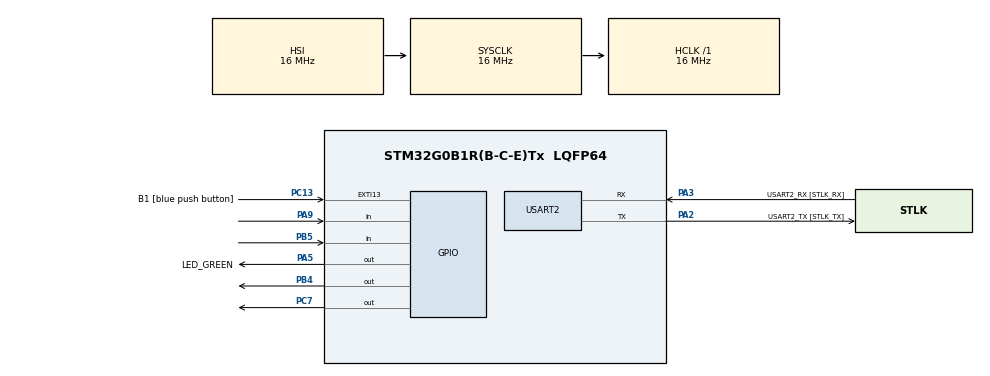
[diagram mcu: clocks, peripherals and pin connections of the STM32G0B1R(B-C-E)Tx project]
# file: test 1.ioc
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Mcu.Family=STM32G0
Mcu.Name=STM32G0B1R(B-C-E)Tx
Mcu.Package=LQFP64
PA13.GPIO_Label=TMS
PA13.Mode=Serial_Wire
PA13.Signal=SYS_SWDIO
PA14-BOOT0.GPIO_Label=TCK
PA14-BOOT0.Mode=Serial_Wire
PA14-BOOT0.Signal=SYS_SWCLK
PA2.GPIO_Label=USART2_TX [STLK_TX]
PA2.Mode=Asynchronous
PA2.Signal=USART2_TX
PA3.GPIO_Label=USART2_RX [STLK_RX]
PA3.Mode=Asynchronous
PA3.Signal=USART2_RX
PA5.GPIO_Label=LED_GREEN
PA5.GPIO_Speed=GPIO_SPEED_FREQ_HIGH
PA5.Signal=GPIO_Output
PA9.Signal=GPIO_Input
PB4.Signal=GPIO_Output
PB5.GPIO_PuPd=GPIO_PULLUP
PB5.Signal=GPIO_Input
PC13.GPIO_Label=B1 [blue push button]
PC13.Signal=GPXTI13
PC14-OSC32_IN\ (PC14).Mode=LSE-External-Oscillator
PC14-OSC32_IN\ (PC14).Signal=RCC_OSC32_IN
PC15-OSC32_OUT\ (PC15).Mode=LSE-External-Oscillator
PC15-OSC32_OUT\ (PC15).Signal=RCC_OSC32_OUT
PC7.Signal=GPIO_Output
PF0-OSC_IN\ (PF0).GPIO_Label=MCO
PF0-OSC_IN\ (PF0).Mode=HSE-External-Clock-Source
PF0-OSC_IN\ (PF0).Signal=RCC_OSC_IN
ProjectManager.HeapSize=0x200
ProjectManager.StackSize=0x400
ProjectManager.TargetToolchain=STM32CubeIDE
RCC.AHBFreq_Value=16000000
RCC.CortexFreq_Value=16000000
RCC.EXTERNAL_CLOCK_VALUE=12288000
RCC.HCLKFreq_Value=16000000
RCC.HSE_VALUE=8000000
RCC.HSI48_VALUE=48000000
RCC.HSI_VALUE=16000000
RCC.SYSCLKFreq_VALUE=16000000
RCC.USBFreq_Value=48000000
RCC.VCOOutputFreq_Value=128000000
USART2.VirtualMode-Asynchronous=VM_ASYNC
board=NUCLEO-G0B1RE

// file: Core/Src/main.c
/* USER CODE BEGIN Header */
/**
  ******************************************************************************
  * @file           : main.c
  * @brief          : Main program body
  ******************************************************************************
  * @attention
  *
  * Copyright (c) 2026 STMicroelectronics.
  * All rights reserved.
  *
  * This software is licensed under terms that can be found in the LICENSE file
  * in the root directory of this software component.
  * If no LICENSE file comes with this software, it is provided AS-IS.
  *
  ******************************************************************************
  */
/* USER CODE END Header */
#include "main.h"

/* USER CODE BEGIN Includes */
#include <stdio.h>
#include <stdint.h>
#include <stdbool.h>
#include <string.h>
/* USER CODE END Includes */

/* USER CODE BEGIN PTD */
typedef enum
{
  PAD_STATE_IDLE    = 0,
  PAD_STATE_RUNNING = 1,
  PAD_STATE_FAULT   = 2
} Pad_State_e;
/* USER CODE END PTD */

/* USER CODE BEGIN PD */
/* Raw counts per 1 mmHg, fitted to a gauge (about +/-3 mmHg gauge accuracy).
 * Valid for this sensor module only; each new sensor needs its own value. */
#define PAD_COUNTS_PER_MMHG            (75000)

/* Calibration mode: once the pump has stopped at the current target, each
 * button press raises the target by one step and continues from there. */
#define PAD_CAL_STEP_COUNTS            (1000000)   /* first target and each step   */
#define PAD_CAL_MAX_TARGET_COUNTS      (5000000)   /* highest target allowed       */
#define PAD_CAL_LIMIT_MARGIN_COUNTS    (500000)    /* fault above target + this    */

/* Hard cap in raw counts, independent of every other setting. */
#define PAD_ABSOLUTE_MAX_DELTA_COUNTS  (6000000)

#define PAD_PUMP_ON_TIMEOUT_MS         (60000U)
#define PAD_BASELINE_SAMPLES           (8U)
#define PAD_BUTTON_DEBOUNCE_MS         (30U)
/* USER CODE END PD */

UART_HandleTypeDef huart2;

void SystemClock_Config(void);
static void MX_GPIO_Init(void);
static void MX_USART2_UART_Init(void);

/* USER CODE BEGIN 0 */

/* Short delay for the HX710B clock pulses (about 1-2 us at 16 MHz). */
static void SensorDelay(void)
{
  volatile uint32_t count = 20U;

  while (count > 0U)
  {
    count--;
  }
}

/* Read one 24-bit raw sample from the HX710B.
 * DOUT = PA9, SCK = PC7. Returns false if no sample arrives in 500 ms. */
static bool HX710B_ReadRaw(int32_t *value)
{
  uint32_t start_ms = HAL_GetTick();
  uint32_t raw      = 0U;
  uint8_t  i;

  /* DOUT goes LOW when a new sample is ready. */
  while (HAL_GPIO_ReadPin(GPIOA, GPIO_PIN_9) == GPIO_PIN_SET)
  {
    if ((HAL_GetTick() - start_ms) > 500U)
    {
      return false;
    }
  }

  /* 24 data bits + 1 extra pulse (selects the 10 Hz input for the next read). */
  for (i = 0U; i < 25U; i++)
  {
    HAL_GPIO_WritePin(GPIOC, GPIO_PIN_7, GPIO_PIN_SET);
    SensorDelay();

    if (i < 24U)
    {
      raw <<= 1U;

      if (HAL_GPIO_ReadPin(GPIOA, GPIO_PIN_9) == GPIO_PIN_SET)
      {
        raw |= 1U;
      }
    }

    HAL_GPIO_WritePin(GPIOC, GPIO_PIN_7, GPIO_PIN_RESET);
    SensorDelay();
  }

  /* Sign-extend the 24-bit two's complement value. */
  if ((raw & 0x00800000U) != 0U)
  {
    raw |= 0xFF000000U;
  }

  *value = (int32_t)raw;
  return true;
}

/* Send a text string over the USB serial port. */
static void Pad_Print(const char *text)
{
  HAL_UART_Transmit(&huart2, (uint8_t *)text, (uint16_t)strlen(text), 100U);
}

/* Pump ON/OFF through TB6612FNG AIN1 (PB4). Green LED mirrors the pump. */
static void Pad_SetPump(bool pump_on)
{
  GPIO_PinState level = pump_on ? GPIO_PIN_SET : GPIO_PIN_RESET;

  HAL_GPIO_WritePin(GPIOB, GPIO_PIN_4, level);
  HAL_GPIO_WritePin(LED_GREEN_GPIO_Port, LED_GREEN_Pin, level);
}

/* Average several resting samples to find the zero point. */
static bool Pad_ReadBaseline(int32_t *baseline)
{
  int64_t sum = 0;
  int32_t sample = 0;
  uint8_t i;

  /* Discard the first sample; it can be stale after power-up. */
  if (!HX710B_ReadRaw(&sample))
  {
    return false;
  }

  for (i = 0U; i < PAD_BASELINE_SAMPLES; i++)
  {
    if (!HX710B_ReadRaw(&sample))
    {
      return false;
    }

    sum += sample;
  }

  *baseline = (int32_t)(sum / (int64_t)PAD_BASELINE_SAMPLES);
  return true;
}

/* Returns true once per button press (button is active LOW on PB5). */
static bool Pad_ButtonPressed(bool *was_pressed)
{
  bool is_low    = (HAL_GPIO_ReadPin(GPIOB, GPIO_PIN_5) == GPIO_PIN_RESET);
  bool new_press = false;

  if (is_low && !(*was_pressed))
  {
    HAL_Delay(PAD_BUTTON_DEBOUNCE_MS);

    if (HAL_GPIO_ReadPin(GPIOB, GPIO_PIN_5) == GPIO_PIN_RESET)
    {
      new_press = true;
    }
  }

  *was_pressed = is_low;
  return new_press;
}

/* USER CODE END 0 */

int main(void)
{

  /* MCU Configuration--------------------------------------------------------*/

  /* Reset of all peripherals, Initializes the Flash interface and the Systick. */
  HAL_Init();

  /* Configure the system clock */
  SystemClock_Config();

  /* Initialize all configured peripherals */
  MX_GPIO_Init();
  MX_USART2_UART_Init();
  /* USER CODE BEGIN 2 */
  Pad_State_e pad_state          = PAD_STATE_IDLE;
  int32_t     baseline           = 0;
  int32_t     raw_value          = 0;
  int32_t     delta              = 0;
  int32_t     target_counts      = PAD_CAL_STEP_COUNTS;
  bool        pump_is_on         = false;
  uint32_t    pump_on_since_ms   = 0U;
  bool        button_was_pressed = false;
  char        message[96];
  int         message_len;

  Pad_SetPump(false);

  /* Tube must be open to air while the baseline is measured. */
  if (Pad_ReadBaseline(&baseline))
  {
    message_len = snprintf(message, sizeof(message), "baseline=%ld  (press button to START)\r\n", (long)baseline);
    Pad_Print(message);
  }
  else
  {
    pad_state = PAD_STATE_FAULT;
    Pad_Print("FAULT: no sensor data at start-up\r\n");
  }
  /* USER CODE END 2 */

  /* Infinite loop */
  while (1)
  {

    /* USER CODE BEGIN 3 */
    bool button_press = Pad_ButtonPressed(&button_was_pressed);
    bool sensor_ok    = HX710B_ReadRaw(&raw_value);

    if (button_press)
    {
      if (pad_state == PAD_STATE_IDLE)
      {
        pad_state  = PAD_STATE_RUNNING;
        pump_is_on = false;
        Pad_Print("START\r\n");
      }
      else if ((pad_state == PAD_STATE_RUNNING) && (!pump_is_on))
      {
        /* Pump has stopped at the target: raise the target by one step. */
        if ((target_counts + PAD_CAL_STEP_COUNTS) <= PAD_CAL_MAX_TARGET_COUNTS)
        {
          target_counts += PAD_CAL_STEP_COUNTS;
          message_len = snprintf(message, sizeof(message),
                                 "TARGET UP: %ld counts\r\n", (long)target_counts);
          Pad_Print(message);
        }
        else
        {
          Pad_Print("MAX TARGET REACHED\r\n");
        }
      }
      else
      {
        /* Pump is running, or FAULT: stop and return to IDLE. */
        pad_state = PAD_STATE_IDLE;
        Pad_SetPump(false);
        pump_is_on = false;
        Pad_Print("STOP\r\n");
      }
    }

    if (pad_state == PAD_STATE_RUNNING)
    {
      if (!sensor_ok)
      {
        /* No valid reading means we cannot know the pressure: stop. */
        Pad_SetPump(false);
        pump_is_on = false;
        pad_state  = PAD_STATE_FAULT;
        Pad_Print("FAULT: no sensor data\r\n");
      }
      else
      {
        delta = raw_value - baseline;

        if ((delta >= (target_counts + PAD_CAL_LIMIT_MARGIN_COUNTS)) ||
            (delta >= PAD_ABSOLUTE_MAX_DELTA_COUNTS))
        {
          Pad_SetPump(false);
          pump_is_on = false;
          pad_state  = PAD_STATE_FAULT;
          Pad_Print("FAULT: pressure over limit\r\n");
        }
        else if (delta < target_counts)
        {
          if (!pump_is_on)
          {
            Pad_SetPump(true);
            pump_is_on       = true;
            pump_on_since_ms = HAL_GetTick();
          }
          else if ((HAL_GetTick() - pump_on_since_ms) > PAD_PUMP_ON_TIMEOUT_MS)
          {
            Pad_SetPump(false);
            pump_is_on = false;
            pad_state  = PAD_STATE_FAULT;
            Pad_Print("FAULT: target not reached in time\r\n");
          }
        }
        else
        {
          /* Target reached: pump off, keep watching the pressure. */
          Pad_SetPump(false);
          pump_is_on = false;
        }
      }
    }
    else
    {
      /* IDLE or FAULT: pump is always off. */
      Pad_SetPump(false);
      pump_is_on = false;
    }

    if (sensor_ok)
    {
      /* Estimated pressure in tenths of mmHg (integer math, no floats). */
      int32_t mmhg_tenths = (int32_t)(((int64_t)(raw_value - baseline) * 10) / PAD_COUNTS_PER_MMHG);
      char    sign        = (mmhg_tenths < 0) ? '-' : ' ';
      int32_t abs_tenths  = (mmhg_tenths < 0) ? -mmhg_tenths : mmhg_tenths;

      message_len = snprintf(message, sizeof(message),
                             "state=%d tgt=%ld raw=%ld delta=%ld ~%c%ld.%ld mmHg pump=%d\r\n",
                             (int)pad_state, (long)target_counts, (long)raw_value,
                             (long)(raw_value - baseline), sign,
                             (long)(abs_tenths / 10), (long)(abs_tenths % 10),
                             (int)pump_is_on);
      Pad_Print(message);
    }
  }
  /* USER CODE END 3 */
}

void SystemClock_Config(void)
{
  RCC_OscInitTypeDef RCC_OscInitStruct = {0};
  RCC_ClkInitTypeDef RCC_ClkInitStruct = {0};

  /** Configure the main internal regulator output voltage
  */
  HAL_PWREx_ControlVoltageScaling(PWR_REGULATOR_VOLTAGE_SCALE1);

  /** Initializes the RCC Oscillators according to the specified parameters
  * in the RCC_OscInitTypeDef structure.
  */
  RCC_OscInitStruct.OscillatorType = RCC_OSCILLATORTYPE_HSI;
  RCC_OscInitStruct.HSIState = RCC_HSI_ON;
  RCC_OscInitStruct.HSIDiv = RCC_HSI_DIV1;
  RCC_OscInitStruct.HSICalibrationValue = RCC_HSICALIBRATION_DEFAULT;
  RCC_OscInitStruct.PLL.PLLState = RCC_PLL_NONE;
  if (HAL_RCC_OscConfig(&RCC_OscInitStruct) != HAL_OK)
  {
    Error_Handler();
  }

  /** Initializes the CPU, AHB and APB buses clocks
  */
  RCC_ClkInitStruct.ClockType = RCC_CLOCKTYPE_HCLK|RCC_CLOCKTYPE_SYSCLK
                              |RCC_CLOCKTYPE_PCLK1;
  RCC_ClkInitStruct.SYSCLKSource = RCC_SYSCLKSOURCE_HSI;
  RCC_ClkInitStruct.AHBCLKDivider = RCC_SYSCLK_DIV1;
  RCC_ClkInitStruct.APB1CLKDivider = RCC_HCLK_DIV1;

  if (HAL_RCC_ClockConfig(&RCC_ClkInitStruct, FLASH_LATENCY_0) != HAL_OK)
  {
    Error_Handler();
  }
}

static void MX_USART2_UART_Init(void)
{

  huart2.Instance = USART2;
  huart2.Init.BaudRate = 115200;
  huart2.Init.WordLength = UART_WORDLENGTH_8B;
  huart2.Init.StopBits = UART_STOPBITS_1;
  huart2.Init.Parity = UART_PARITY_NONE;
  huart2.Init.Mode = UART_MODE_TX_RX;
  huart2.Init.HwFlowCtl = UART_HWCONTROL_NONE;
  huart2.Init.OverSampling = UART_OVERSAMPLING_16;
  huart2.Init.OneBitSampling = UART_ONE_BIT_SAMPLE_DISABLE;
  huart2.Init.ClockPrescaler = UART_PRESCALER_DIV1;
  huart2.AdvancedInit.AdvFeatureInit = UART_ADVFEATURE_NO_INIT;
  if (HAL_UART_Init(&huart2) != HAL_OK)
  {
    Error_Handler();
  }
  if (HAL_UARTEx_SetTxFifoThreshold(&huart2, UART_TXFIFO_THRESHOLD_1_8) != HAL_OK)
  {
    Error_Handler();
  }
  if (HAL_UARTEx_SetRxFifoThreshold(&huart2, UART_RXFIFO_THRESHOLD_1_8) != HAL_OK)
  {
    Error_Handler();
  }
  if (HAL_UARTEx_DisableFifoMode(&huart2) != HAL_OK)
  {
    Error_Handler();
  }

}

static void MX_GPIO_Init(void)
{
  GPIO_InitTypeDef GPIO_InitStruct = {0};

  /* GPIO Ports Clock Enable */
  __HAL_RCC_GPIOC_CLK_ENABLE();
  __HAL_RCC_GPIOF_CLK_ENABLE();
  __HAL_RCC_GPIOA_CLK_ENABLE();
  __HAL_RCC_GPIOB_CLK_ENABLE();

  /*Configure GPIO pin Output Level */
  HAL_GPIO_WritePin(LED_GREEN_GPIO_Port, LED_GREEN_Pin, GPIO_PIN_RESET);

  /*Configure GPIO pin Output Level */
  HAL_GPIO_WritePin(GPIOC, GPIO_PIN_7, GPIO_PIN_RESET);

  /*Configure GPIO pin Output Level */
  HAL_GPIO_WritePin(GPIOB, GPIO_PIN_4, GPIO_PIN_RESET);

  /*Configure GPIO pin : B1_Pin */
  GPIO_InitStruct.Pin = B1_Pin;
  GPIO_InitStruct.Mode = GPIO_MODE_IT_RISING;
  GPIO_InitStruct.Pull = GPIO_NOPULL;
  HAL_GPIO_Init(B1_GPIO_Port, &GPIO_InitStruct);

  /*Configure GPIO pin : LED_GREEN_Pin */
  GPIO_InitStruct.Pin = LED_GREEN_Pin;
  GPIO_InitStruct.Mode = GPIO_MODE_OUTPUT_PP;
  GPIO_InitStruct.Pull = GPIO_NOPULL;
  GPIO_InitStruct.Speed = GPIO_SPEED_FREQ_HIGH;
  HAL_GPIO_Init(LED_GREEN_GPIO_Port, &GPIO_InitStruct);

  /*Configure GPIO pin : PA9 */
  GPIO_InitStruct.Pin = GPIO_PIN_9;
  GPIO_InitStruct.Mode = GPIO_MODE_INPUT;
  GPIO_InitStruct.Pull = GPIO_NOPULL;
  HAL_GPIO_Init(GPIOA, &GPIO_InitStruct);

  /*Configure GPIO pin : PC7 */
  GPIO_InitStruct.Pin = GPIO_PIN_7;
  GPIO_InitStruct.Mode = GPIO_MODE_OUTPUT_PP;
  GPIO_InitStruct.Pull = GPIO_NOPULL;
  GPIO_InitStruct.Speed = GPIO_SPEED_FREQ_LOW;
  HAL_GPIO_Init(GPIOC, &GPIO_InitStruct);

  /*Configure GPIO pin : PB4 */
  GPIO_InitStruct.Pin = GPIO_PIN_4;
  GPIO_InitStruct.Mode = GPIO_MODE_OUTPUT_PP;
  GPIO_InitStruct.Pull = GPIO_NOPULL;
  GPIO_InitStruct.Speed = GPIO_SPEED_FREQ_LOW;
  HAL_GPIO_Init(GPIOB, &GPIO_InitStruct);

  /*Configure GPIO pin : PB5 */
  GPIO_InitStruct.Pin = GPIO_PIN_5;
  GPIO_InitStruct.Mode = GPIO_MODE_INPUT;
  GPIO_InitStruct.Pull = GPIO_PULLUP;
  HAL_GPIO_Init(GPIOB, &GPIO_InitStruct);

}

void Error_Handler(void)
{
  __disable_irq();
  while (1)
  {
  }
}
